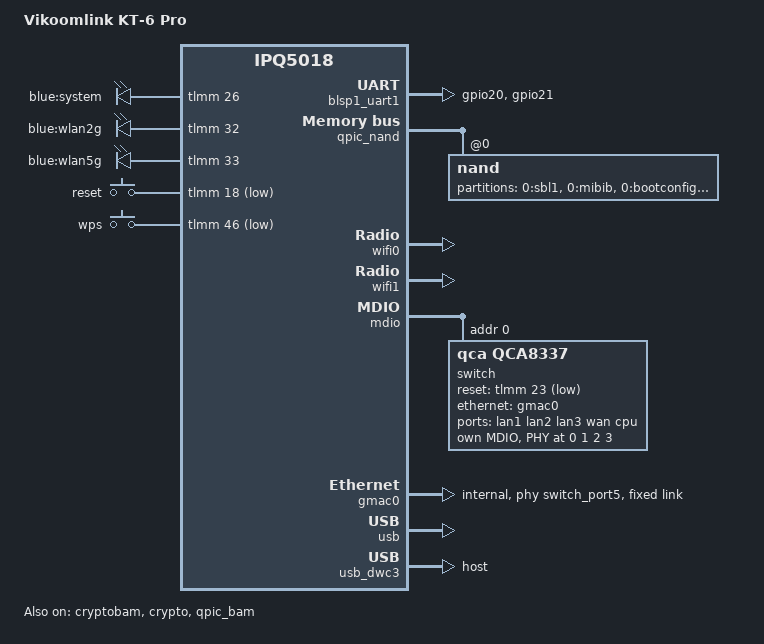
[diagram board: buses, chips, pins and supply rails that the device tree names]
/dts-v1/;

#include "ipq5018.dtsi"
#include "ipq50xx-gl-ax1800.dtsi"

/ {
	model = "Vikoomlink KT-6 Pro";
	compatible = "vikoomlink,kt6pro", "qcom,ipq5018";
	
	aliases {
		led-boot = &led_system;
		led-failsafe = &led_system;
		led-running = &led_system;
		led-upgrade = &led_system;
		serial0 = &blsp1_uart1;
		ethernet0 = "/soc/dp1";
		ethernet1 = "/soc/dp2";
	};
	
	chosen {
		bootargs = "console=ttyMSM0,115200n8";
	};

	leds {
		compatible = "gpio-leds";
		
		led_system: system {
			label = "blue:system";
			gpios = <&tlmm 26 GPIO_ACTIVE_HIGH>;
			default-state = "on";
		};
		
		wlan2g {
			label = "blue:wlan2g";
			gpios = <&tlmm 32 GPIO_ACTIVE_HIGH>;
			linux,default-trigger = "phy0tpt";
		};
		
		wlan5g {
			label = "blue:wlan5g";
			gpios = <&tlmm 33 GPIO_ACTIVE_HIGH>;
			linux,default-trigger = "phy1tpt";
		};
	};
	
	gpio-keys {
		compatible = "gpio-keys";
		
		reset {
			label = "reset";
			gpios = <&tlmm 18 GPIO_ACTIVE_LOW>;
			linux,code = <KEY_RESTART>;
		};
		
		wps {
			label = "wps";
			gpios = <&tlmm 46 GPIO_ACTIVE_LOW>;
			linux,code = <KEY_WPS_BUTTON>;
		};
	};
};

&blsp1_uart1 {
	pinctrl-0 = <&serial_0_pins>;
	pinctrl-names = "default";
	status = "okay";
};

&tlmm {
	serial_0_pins: serial0-state {
		pins = "gpio20", "gpio21";
		function = "blsp0_uart0";
		drive-strength = <8>;
		bias-pull-up;
	};
};

&cryptobam {
	status = "okay";
};

&crypto {
	status = "okay";
};

&qpic_bam {
	status = "okay";
};

&qpic_nand {
	status = "okay";
	
	nand@0 {
		reg = <0>;
		nand-ecc-strength = <4>;
		nand-ecc-step-size = <512>;
		nand-bus-width = <8>;
		
		partitions {
			compatible = "fixed-partitions";
			#address-cells = <1>;
			#size-cells = <1>;
			
			partition@0 {
				label = "0:sbl1";
				reg = <0x0000000 0x100000>;
				read-only;
			};
			
			partition@100000 {
				label = "0:mibib";
				reg = <0x100000 0x100000>;
				read-only;
			};
			
			partition@200000 {
				label = "0:bootconfig";
				reg = <0x200000 0x80000>;
				read-only;
			};
			
			partition@280000 {
				label = "0:bootconfig1";
				reg = <0x280000 0x80000>;
				read-only;
			};
			
			partition@300000 {
				label = "0:qsee";
				reg = <0x300000 0x300000>;
				read-only;
			};
			
			partition@600000 {
				label = "0:qsee_1";
				reg = <0x600000 0x300000>;
				read-only;
			};
			
			partition@900000 {
				label = "0:devcfg";
				reg = <0x900000 0x80000>;
				read-only;
			};
			
			partition@980000 {
				label = "0:devcfg_1";
				reg = <0x980000 0x80000>;
				read-only;
			};
			
			partition@a00000 {
				label = "0:apdp";
				reg = <0xa00000 0x80000>;
				read-only;
			};
			
			partition@a80000 {
				label = "0:apdp_1";
				reg = <0xa80000 0x80000>;
				read-only;
			};
			
			partition@b00000 {
				label = "0:rpm";
				reg = <0xb00000 0x80000>;
				read-only;
			};
			
			partition@b80000 {
				label = "0:rpm_1";
				reg = <0xb80000 0x80000>;
				read-only;
			};
			
			partition@c00000 {
				label = "0:cdt";
				reg = <0xc00000 0x80000>;
				read-only;
			};
			
			partition@c80000 {
				label = "0:cdt_1";
				reg = <0xc80000 0x80000>;
				read-only;
			};
			
			partition@d00000 {
				label = "0:appsblenv";
				reg = <0xd00000 0x80000>;
			};
			
			partition@d80000 {
				label = "0:appsbl";
				reg = <0xd80000 0x100000>;
				read-only;
			};
			
			partition@e80000 {
				label = "0:appsbl_1";
				reg = <0xe80000 0x100000>;
				read-only;
			};
			
			partition@f80000 {
				label = "0:art";
				reg = <0xf80000 0x80000>;
				read-only;
			};
			
			partition@1000000 {
				label = "rootfs";
				reg = <0x1000000 0x1d00000>;
			};
			
			partition@2e00000 {
				label = "rootfs_1";
				reg = <0x2e00000 0x1d00000>;
			};
			
			partition@4b00000 {
				label = "overlay";
				reg = <0x4b00000 0x2a00000>;
			};
		};
	};
};

&wifi0 {
	status = "okay";
	qcom,ath11k-calibration-variant = "Vikoomlink-KT6PRO";
};

&wifi1 {
	status = "okay";
	qcom,ath11k-calibration-variant = "Vikoomlink-KT6PRO";
};

&mdio {
	status = "okay";
	
	switch@0 {
		compatible = "qca,qca8337";
		reg = <0>;
		reset-gpios = <&tlmm 23 GPIO_ACTIVE_LOW>;
		
		ports {
			#address-cells = <1>;
			#size-cells = <0>;
			
			port@0 {
				reg = <0>;
				label = "lan1";
				phy-handle = <&phy_port0>;
			};
			
			port@1 {
				reg = <1>;
				label = "lan2";
				phy-handle = <&phy_port1>;
			};
			
			port@2 {
				reg = <2>;
				label = "lan3";
				phy-handle = <&phy_port2>;
			};
			
			port@3 {
				reg = <3>;
				label = "wan";
				phy-handle = <&phy_port3>;
			};
			
			port@5 {
				reg = <5>;
				label = "cpu";
				ethernet = <&gmac0>;
				phy-mode = "internal";
				
				fixed-link {
					speed = <1000>;
					full-duplex;
				};
			};
		};
		
		mdio {
			#address-cells = <1>;
			#size-cells = <0>;
			
			phy_port0: phy@0 {
				reg = <0>;
			};
			
			phy_port1: phy@1 {
				reg = <1>;
			};
			
			phy_port2: phy@2 {
				reg = <2>;
			};
			
			phy_port3: phy@3 {
				reg = <3>;
			};
		};
	};
};

&gmac0 {
	status = "okay";
	phy-mode = "internal";
	phy-handle = <&switch_port5>;
	
	fixed-link {
		speed = <1000>;
		full-duplex;
		pause;
		asym-pause;
	};
};

&usb {
	status = "okay";
};

&usb_dwc3 {
	status = "okay";
	dr_mode = "host";
};
